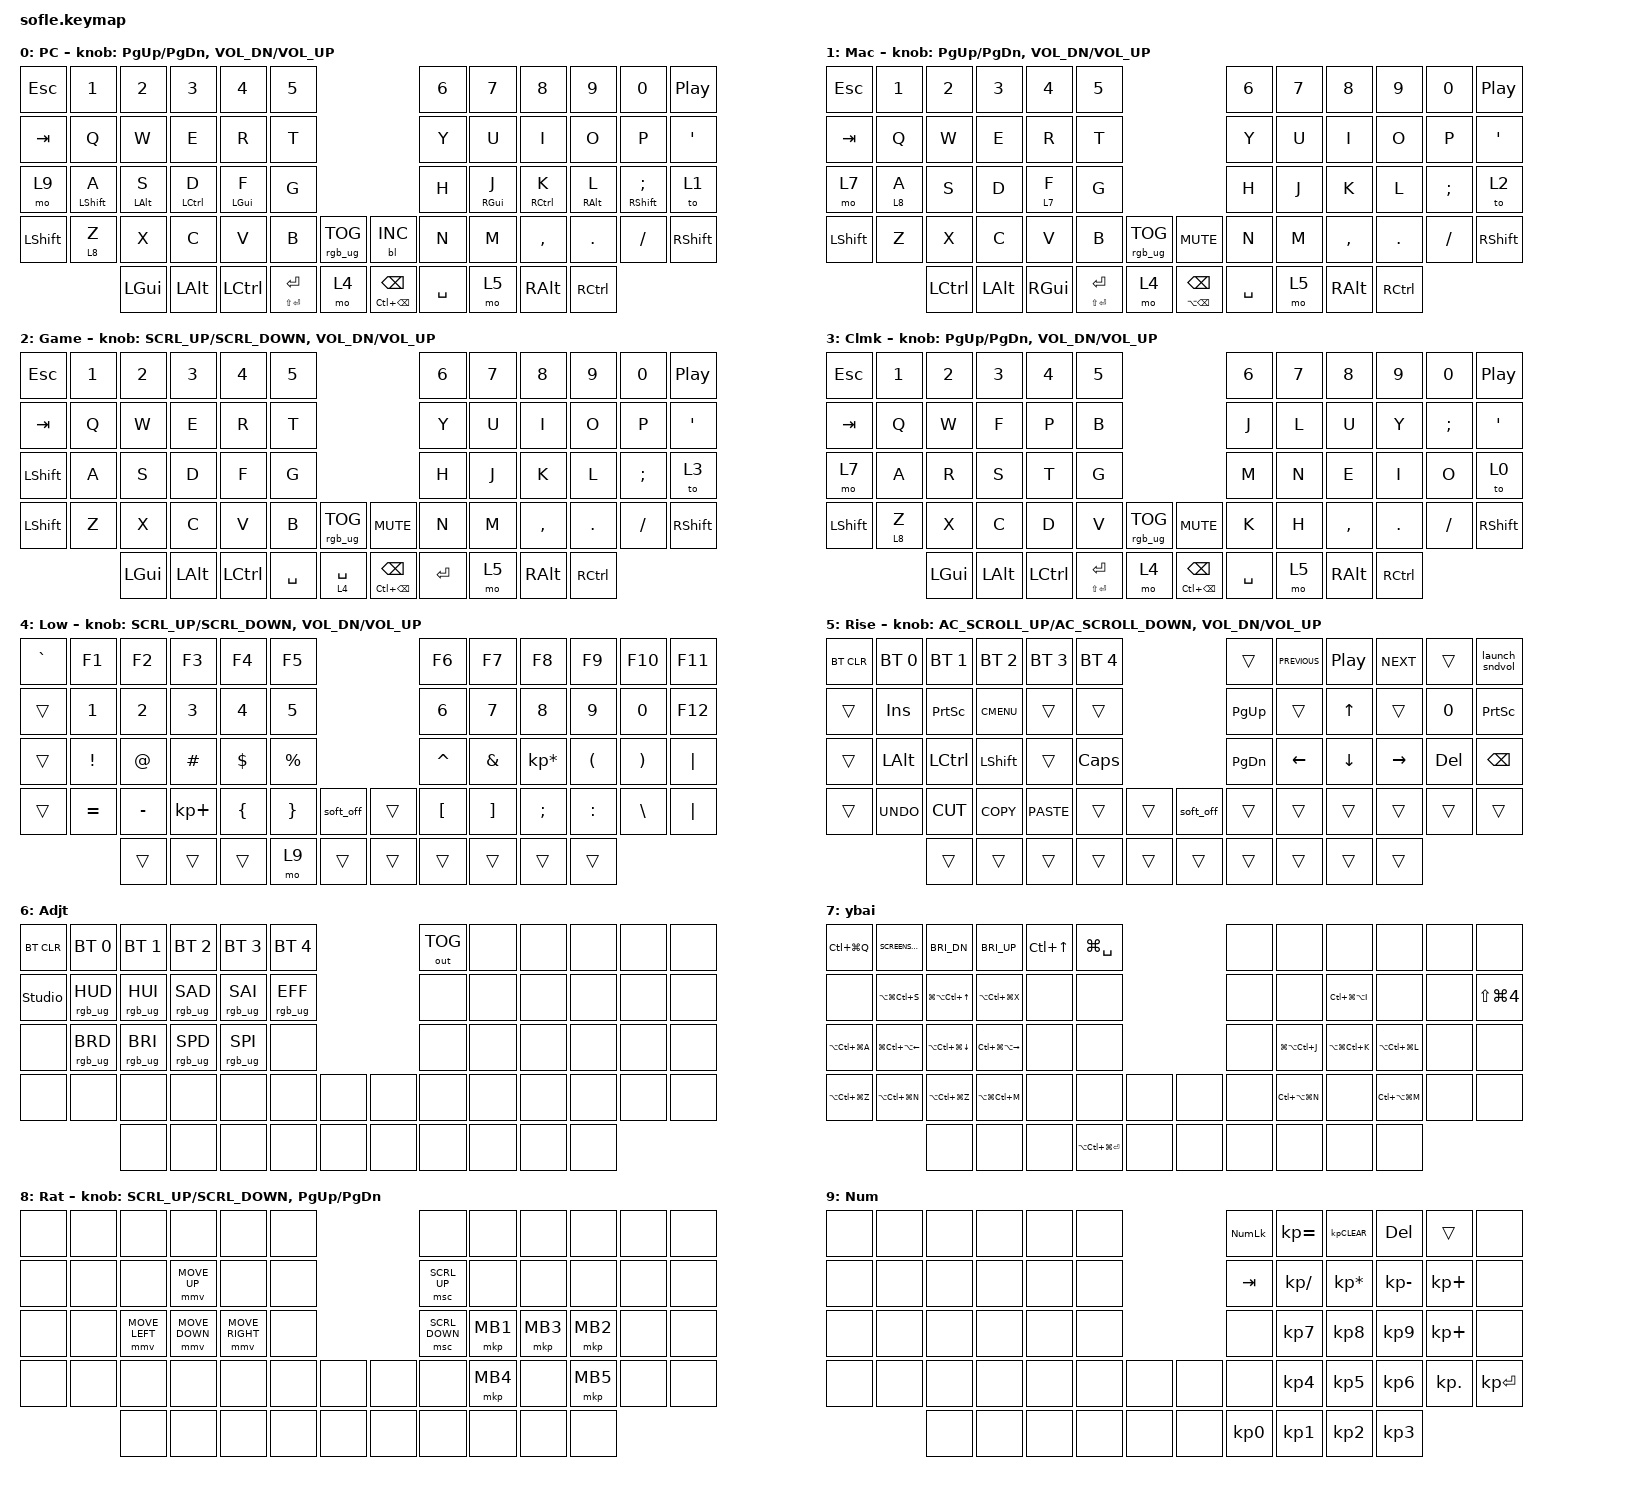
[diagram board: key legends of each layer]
/*
 * Copyright (c) 2020 The ZMK Contributors
 *
 * SPDX-License-Identifier: MIT
 */

#define ZMK_POINTING_DEFAULT_MOVE_VAL 6000
#define ZMK_POINTING_DEFAULT_SCRL_VAL 15

#include "mouse.dtsi"
#include <dt-bindings/zmk/mouse.h>
#include <behaviors.dtsi>
#include <dt-bindings/zmk/backlight.h>
#include <dt-bindings/zmk/bt.h>
#include <dt-bindings/zmk/keys.h>
#include <dt-bindings/zmk/outputs.h>
#include <dt-bindings/zmk/pointing.h>
#include <dt-bindings/zmk/rgb.h>

#define BASE 0
#define LOWER 1
#define RAISE 2
#define ADJUST 3

&mmv {
    acceleration-exponent = <1>;      // 1
    time-to-max-speed-ms = <4000>;     // 40
    delay-ms = <0>;                   // 0
};

&soft_off {
    hold-time-ms = <500>; // Only turn off it the key is held for 5 seconds or longer.
};

/ {
    macros {
        launch_sndvol: launch_sndvol {
            compatible = "zmk,behavior-macro";
            #binding-cells = <0>;
            bindings = <&kp LG(R) &kp S &kp N &kp D &kp V &kp O &kp L &kp DOT &kp E &kp X &kp E &kp ENTER>;
            wait-ms = <20>;
        };
    };

    behaviors {
        mt: mod_tap {
            compatible = "zmk,behavior-hold-tap";
            label = "MOD_TAP";
            #binding-cells = <2>;
            tapping-term-ms = <300>;
            bindings = <&kp>, <&kp>;
            flavor = "balanced";
            require-prior-idle-ms = <100>;
        };

        lt: layer_tap {
            compatible = "zmk,behavior-hold-tap";
            label = "LAYER_TAP";
            #binding-cells = <2>;
            tapping-term-ms = <300>;
            bindings = <&mo>, <&kp>;
            flavor = "balanced";
        };
    };
}; 

/ {
    // Activate ADJUST layer by pressing raise and lower

    conditional_layers {
        compatible = "zmk,conditional-layers";

        adjust_layer {
            if-layers = <4 5>;
            then-layer = <6>;
        };
    };

    keymap {
        compatible = "zmk,keymap";

        default_layer {
            display-name = "PC";

            // ------------------------------------------------------------------------------------------------------------
            // |  `    |  1  |  2  |  3   |  4   |  5   |                   |  6   |  7    |  8    |  9   |   0   |       |
            // |  ESC  |  Q  |  W  |  E   |  R   |  T   |                   |  Y   |  U    |  I    |  O   |   P   | BKSPC |
            // |  TAB  |  A  |  S  |  D   |  F   |  G   |                   |  H   |  J    |  K    |  L   |   ;   |   '   |
            // | SHIFT |  Z  |  X  |  C   |  V   |  B   |    |  |   MUTE    |  N   |  M    |  ,    |  .   |   /   | SHIFT |
            //               | GUI | ALT  | CTRL | LOWER|  ENTER |  | SPACE | RAISE| CTRL  | ALT   | GUI  |

            bindings = <
&kp ESC    &kp N1            &kp N2          &kp N3              &kp N4          &kp N5                                                           &kp N6     &kp N7           &kp N8               &kp N9           &kp N0                &kp C_PLAY_PAUSE
&kp TAB    &kp Q             &kp W           &kp E               &kp R           &kp T                                                            &kp Y      &kp U            &kp I                &kp O            &kp P                 &kp SINGLE_QUOTE
&mo 9      &mt LEFT_SHIFT A  &mt LEFT_ALT S  &mt LEFT_CONTROL D  &mt LEFT_GUI F  &kp G                                                            &kp H      &mt RIGHT_GUI J  &mt RIGHT_CONTROL K  &mt RIGHT_ALT L  &mt RIGHT_SHIFT SEMI  &to 1
&kp LSHFT  &lt 8 Z           &kp X           &kp C               &kp V           &kp B            &rgb_ug RGB_TOG    &bl BL_INC                   &kp N      &kp M            &kp COMMA            &kp DOT          &kp FSLH              &kp RIGHT_SHIFT
                             &kp LGUI        &kp LALT            &kp LCTRL       &mt LS(RET) RET  &mo 4              &mt LC(BACKSPACE) BACKSPACE  &kp SPACE  &mo 5            &kp RALT             &kp RCTRL
            >;

            sensor-bindings = <&inc_dec_kp PAGE_UP PAGE_DOWN &inc_dec_kp C_VOL_DN C_VOL_UP>;
        };

        MacOS {
            display-name = "Mac";
            bindings = <
&kp ESC    &kp N1   &kp N2     &kp N3    &kp N4         &kp N5                                                              &kp N6     &kp N7  &kp N8     &kp N9     &kp N0    &kp C_PLAY_PAUSE
&kp TAB    &kp Q    &kp W      &kp E     &kp R          &kp T                                                               &kp Y      &kp U   &kp I      &kp O      &kp P     &kp SINGLE_QUOTE
&mo 7      &lt 8 A  &kp S      &kp D     &lt 7 F        &kp G                                                               &kp H      &kp J   &kp K      &kp L      &kp SEMI  &to 2
&kp LSHFT  &kp Z    &kp X      &kp C     &kp V          &kp B               &rgb_ug RGB_TOG    &kp C_MUTE                   &kp N      &kp M   &kp COMMA  &kp DOT    &kp FSLH  &kp RIGHT_SHIFT
                    &kp LCTRL  &kp LALT  &kp RIGHT_GUI  &mt LS(RET) RETURN  &mo 4              &mt LA(BACKSPACE) BACKSPACE  &kp SPACE  &mo 5   &kp RALT   &kp RCTRL
            >;

            sensor-bindings =
                <&inc_dec_kp PAGE_UP PAGE_DOWN>,
                <&inc_dec_kp C_VOL_DN C_VOL_UP>;
        };

        Game {
            display-name = "Game";
            bindings = <
&kp ESC         &kp N1  &kp N2    &kp N3    &kp N4     &kp N5                                                     &kp N6     &kp N7  &kp N8     &kp N9     &kp N0    &kp C_PLAY_PAUSE
&kp TAB         &kp Q   &kp W     &kp E     &kp R      &kp T                                                      &kp Y      &kp U   &kp I      &kp O      &kp P     &kp SINGLE_QUOTE
&kp LEFT_SHIFT  &kp A   &kp S     &kp D     &kp F      &kp G                                                      &kp H      &kp J   &kp K      &kp L      &kp SEMI  &to 3
&kp LSHFT       &kp Z   &kp X     &kp C     &kp V      &kp B      &rgb_ug RGB_TOG    &kp C_MUTE                   &kp N      &kp M   &kp COMMA  &kp DOT    &kp FSLH  &kp RIGHT_SHIFT
                        &kp LGUI  &kp LALT  &kp LCTRL  &kp SPACE  &lt 4 SPACE        &mt LC(BACKSPACE) BACKSPACE  &kp ENTER  &mo 5   &kp RALT   &kp RCTRL
            >;

            sensor-bindings =
                <&inc_dec_msc SCRL_UP SCRL_DOWN>,
                <&inc_dec_kp C_VOL_DN C_VOL_UP>;
        };

        Colmak {
            display-name = "Clmk";
            bindings = <
&kp ESC    &kp N1   &kp N2    &kp N3    &kp N4     &kp N5                                                           &kp N6     &kp N7  &kp N8     &kp N9     &kp N0    &kp C_PLAY_PAUSE
&kp TAB    &kp Q    &kp W     &kp F     &kp P      &kp B                                                            &kp J      &kp L   &kp U      &kp Y      &kp SEMI  &kp SINGLE_QUOTE
&mo 7      &kp A    &kp R     &kp S     &kp T      &kp G                                                            &kp M      &kp N   &kp E      &kp I      &kp O     &to 0
&kp LSHFT  &lt 8 Z  &kp X     &kp C     &kp D      &kp V            &rgb_ug RGB_TOG    &kp C_MUTE                   &kp K      &kp H   &kp COMMA  &kp DOT    &kp FSLH  &kp RIGHT_SHIFT
                    &kp LGUI  &kp LALT  &kp LCTRL  &mt LS(RET) RET  &mo 4              &mt LC(BACKSPACE) BACKSPACE  &kp SPACE  &mo 5   &kp RALT   &kp RCTRL
            >;

            sensor-bindings =
                <&inc_dec_kp PAGE_UP PAGE_DOWN>,
                <&inc_dec_kp C_VOL_DN C_VOL_UP>;
        };

        lower_layer {
            display-name = "Low";

            // TODO: Some binds are waiting for shifted keycode support.
            // ------------------------------------------------------------------------------------------------------------
            // |       |  F1 |  F2 |  F3  |  F4  |  F5  |                   |  F6  |  F7   |  F8   |  F9  |  F10  |  F11  |
            // | `     |   1 |   2 |   3  |   4  |   5  |                   |   6  |   7   |   8   |   9  |    0  |  F12  |
            // |       |  !  |  @  |  #   |  $   |  %   |                   |  ^   |  &    |  *    |  (   |   )   |   |   |
            // |       |  =  |  -  |  +   |  {   |  }   |        |  |       |  [   |  ]    |  ;    |  :   |   \   |       |
            //               |     |      |      |      |        |  |       |      |       |       |      |

            bindings = <
&kp GRAVE  &kp F1        &kp F2     &kp F3       &kp F4    &kp F5                          &kp F6     &kp F7    &kp F8           &kp F9     &kp F10   &kp F11
&trans     &kp NUMBER_1  &kp N2     &kp N3       &kp N4    &kp N5                          &kp N6     &kp N7    &kp N8           &kp N9     &kp N0    &kp F12
&trans     &kp EXCL      &kp AT     &kp HASH     &kp DLLR  &kp PRCNT                       &kp CARET  &kp AMPS  &kp KP_MULTIPLY  &kp LPAR   &kp RPAR  &kp PIPE
&trans     &kp EQUAL     &kp MINUS  &kp KP_PLUS  &kp LBRC  &kp RBRC   &soft_off    &trans  &kp LBKT   &kp RBKT  &kp SEMI         &kp COLON  &kp BSLH  &kp PIPE
                         &trans     &trans       &trans    &mo 9      &trans       &trans  &trans     &trans    &trans           &trans
            >;

            sensor-bindings = <&inc_dec_msc SCRL_UP SCRL_DOWN &inc_dec_kp C_VOL_DN C_VOL_UP>;
        };

        raise_layer {
            display-name = "Rise";

            // ------------------------------------------------------------------------------------------------------------
            // |BTCLR| BT1  | BT2  |  BT3  |  BT4  |  BT5 |                |      |      |       |      |       |       |
            // |     | INS  | PSCR | GUI   |       |      |                | PGUP |      |   ^   |      |       |       |
            // |     | ALT  | CTRL | SHIFT |       | CAPS |                | PGDN |   <- |   v   |  ->  |  DEL  | BKSPC |
            // |     | UNDO | CUT  | COPY  | PASTE |      |      |  |      |      |      |       |      |       |       |
            //              |      |       |       |      |      |  |      |      |      |       |      |

            bindings = <
&bt BT_CLR  &bt BT_SEL 0  &bt BT_SEL 1  &bt BT_SEL 2  &bt BT_SEL 3  &bt BT_SEL 4                       &trans     &kp C_PREVIOUS  &kp C_PLAY_PAUSE  &kp C_NEXT  &trans   &launch_sndvol
&trans      &kp INS       &kp PSCRN     &kp K_CMENU   &trans        &trans                             &kp PG_UP  &trans          &kp UP            &trans      &kp N0   &kp PRINTSCREEN
&trans      &kp LALT      &kp LCTRL     &kp LSHFT     &trans        &kp CLCK                           &kp PG_DN  &kp LEFT        &kp DOWN          &kp RIGHT   &kp DEL  &kp BSPC
&trans      &kp K_UNDO    &kp K_CUT     &kp K_COPY    &kp K_PASTE   &trans        &trans    &soft_off  &trans     &trans          &trans            &trans      &trans   &trans
                          &trans        &trans        &trans        &trans        &trans    &trans     &trans     &trans          &trans            &trans
            >;

            sensor-bindings =
                <&inc_dec_msc C_AC_SCROLL_UP C_AC_SCROLL_DOWN>,
                <&inc_dec_kp C_VOL_DN C_VOL_UP>;
        };

        Adjust_layer {
            display-name = "Adjt";
            bindings = <
&bt BT_CLR      &bt BT_SEL 0     &bt BT_SEL 1     &bt BT_SEL 2     &bt BT_SEL 3     &bt BT_SEL 4                     &out OUT_TOG  &none  &none  &none  &none  &none
&studio_unlock  &rgb_ug RGB_HUD  &rgb_ug RGB_HUI  &rgb_ug RGB_SAD  &rgb_ug RGB_SAI  &rgb_ug RGB_EFF                  &none         &none  &none  &none  &none  &none
&none           &rgb_ug RGB_BRD  &rgb_ug RGB_BRI  &rgb_ug RGB_SPD  &rgb_ug RGB_SPI  &none                            &none         &none  &none  &none  &none  &none
&none           &none            &none            &none            &none            &none            &none    &none  &none         &none  &none  &none  &none  &none
                                 &none            &none            &none            &none            &none    &none  &none         &none  &none  &none
            >;
        };

        yabai {
            bindings = <
&kp LC(LG(Q))      &kp K_SCREENSAVER     &kp C_BRI_DN                &kp C_BRI_UP           &kp LC(UP_ARROW)  &kp LG(SPACE)                          &none  &none              &none              &none              &none  &none
&none              &kp LA(LG(LC(S)))     &kp LG(LA(LC(UP)))          &kp LA(LC(LG(X)))      &none             &none                                  &none  &none              &kp LC(LG(LA(I)))  &none              &none  &kp LS(LG(NUMBER_4))
&kp LA(LC(LG(A)))  &kp LG(LC(LA(LEFT)))  &kp LA(LC(LG(DOWN_ARROW)))  &kp LC(LG(LA(RIGHT)))  &none             &none                                  &none  &kp LG(LA(LC(J)))  &kp LA(LG(LC(K)))  &kp LA(LC(LG(L)))  &none  &none
&kp LA(LC(LG(Z)))  &kp LA(LC(LG(N)))     &kp LA(LC(LG(Z)))           &kp LA(LG(LC(M)))      &none             &none                  &none    &none  &none  &kp LC(LA(LG(N)))  &none              &kp LC(LA(LG(M)))  &none  &none
                                         &none                       &none                  &none             &kp LA(LC(LG(ENTER)))  &none    &none  &none  &none              &none              &none
            >;

            display-name = "ybai";
        };

        mouseKey {
            bindings = <
&none  &none  &none           &none           &none            &none                  &none           &none     &none     &none     &none  &none
&none  &none  &none           &mmv MOVE_UP    &none            &none                  &msc SCRL_UP    &none     &none     &none     &none  &none
&none  &none  &mmv MOVE_LEFT  &mmv MOVE_DOWN  &mmv MOVE_RIGHT  &none                  &msc SCRL_DOWN  &mkp MB1  &mkp MB3  &mkp MB2  &none  &none
&none  &none  &none           &none           &none            &none  &none    &none  &none           &mkp MB4  &none     &mkp MB5  &none  &none
              &none           &none           &none            &none  &none    &none  &none           &none     &none     &none
            >;

            display-name = "Rat";
            sensor-bindings =
                <&inc_dec_msc SCRL_UP SCRL_DOWN>,
                <&inc_dec_kp PAGE_UP PAGE_DOWN>;
        };

        Numpad {
            bindings = <
&none  &none  &none  &none  &none  &none                  &kp KP_NUMLOCK   &kp KP_EQUAL     &kp KP_CLEAR     &kp DELETE       &trans       &none
&none  &none  &none  &none  &none  &none                  &kp TAB          &kp KP_DIVIDE    &kp KP_ASTERISK  &kp KP_MINUS     &kp KP_PLUS  &none
&none  &none  &none  &none  &none  &none                  &none            &kp KP_NUMBER_7  &kp KP_NUMBER_8  &kp KP_N9        &kp KP_PLUS  &none
&none  &none  &none  &none  &none  &none  &none    &none  &none            &kp KP_NUMBER_4  &kp KP_NUMBER_5  &kp KP_NUMBER_6  &kp KP_DOT   &kp KP_ENTER
              &none  &none  &none  &none  &none    &none  &kp KP_NUMBER_0  &kp KP_NUMBER_1  &kp KP_NUMBER_2  &kp KP_NUMBER_3
            >;

            display-name = "Num";
        };
    };
};
